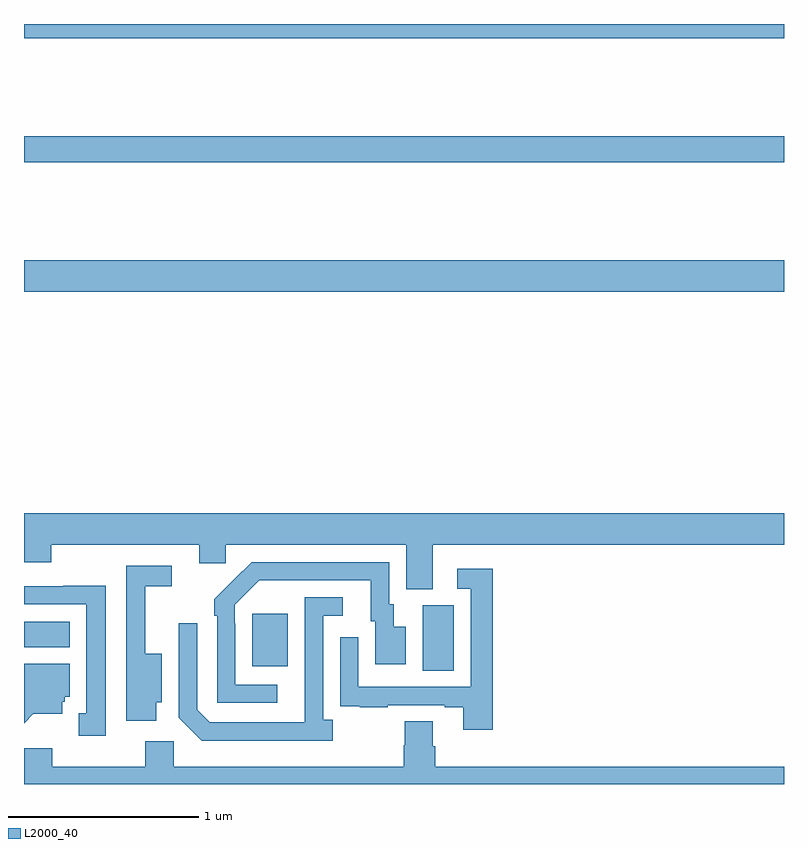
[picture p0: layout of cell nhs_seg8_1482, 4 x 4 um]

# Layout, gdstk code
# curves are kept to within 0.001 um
import gdstk
lib = gdstk.Library(unit=1e-6, precision=1e-09)
def R(c, l, rs):  # rectangles x0, y0, x1, y1
    for r in rs: c.add(gdstk.rectangle(r[:2], r[2:], *l))
def P(c, l, *ps):  # polygons
    for p in ps: c.add(gdstk.Polygon(p, *l))
L2000_40 = (2000, 40)

nhs_seg8_1482 = lib.new_cell('nhs_seg8_1482')
R(nhs_seg8_1482, L2000_40, [(207.098,1122.496,207.262,1122.84), (206.201,1122.521,206.389,1122.796), (205,1122.62,205.24,1122.754), (205,1124.492,209,1124.656), (205,1125.172,209,1125.308), (205,1125.824,209,1125.9)])
P(nhs_seg8_1482, L2000_40, [(207.151,1123.16),(209,1123.16),(209,1123.324),(205,1123.324),(205,1123.067),(205.143,1123.067),(205.143,1123.16),(205.922,1123.16),(205.922,1123.062),(206.061,1123.062),(206.061,1123.16),(207.011,1123.16),(207.011,1122.925),(207.151,1122.925)],
  [(206.332,1122.423),(206.112,1122.423),(206.112,1122.743),(206.109,1122.743),(206.109,1122.843),(206.238,1122.972),(206.825,1122.972),(206.825,1122.756),(206.849,1122.756),(206.849,1122.531),(207.01,1122.531),(207.01,1122.727),(206.947,1122.727),(206.947,1122.846),(206.922,1122.846),(206.922,1123.068),(206.198,1123.068),(206.001,1122.873),(206.001,1122.785),(206.016,1122.785),(206.016,1122.327),(206.332,1122.327)],
  [(205.696,1122.329),(205.726,1122.329),(205.726,1122.586),(205.637,1122.586),(205.637,1122.942),(205.777,1122.942),(205.777,1123.05),(205.539,1123.05),(205.539,1122.482),(205.538,1122.482),(205.538,1122.234),(205.696,1122.234)],
  [(207.467,1123.033),(207.279,1123.033),(207.279,1122.927),(207.351,1122.927),(207.351,1122.411),(206.76,1122.411),(206.76,1122.673),(206.664,1122.673),(206.664,1122.418),(206.665,1122.418),(206.665,1122.309),(206.767,1122.309),(206.767,1122.303),(206.915,1122.303),(206.915,1122.315),(207.215,1122.315),(207.215,1122.303),(207.311,1122.303),(207.311,1122.186),(207.467,1122.186)],
  [(205.429,1122.944),(205.206,1122.944),(205.206,1122.942),(205,1122.942),(205,1122.846),(205.328,1122.846),(205.328,1122.273),(205.289,1122.273),(205.289,1122.153),(205.429,1122.153)],
  [(206.626,1122.238),(206.574,1122.238),(206.574,1122.786),(206.677,1122.786),(206.677,1122.882),(206.478,1122.882),(206.477,1122.225),(205.977,1122.225),(205.911,1122.291),(205.911,1122.745),(205.815,1122.745),(205.815,1122.249),(205.936,1122.128),(206.626,1122.128)],
  [(205.049,1122.269),(205.201,1122.269),(205.201,1122.333),(205.215,1122.333),(205.215,1122.36),(205.24,1122.36),(205.24,1122.532),(205,1122.532),(205,1122.22)],
  [(209,1121.992),(207.164,1121.992),(207.164,1122.098),(207.151,1122.098),(207.151,1122.23),(207.004,1122.23),(207.004,1122.105),(206.999,1122.105),(206.999,1121.992),(205.788,1121.992),(205.788,1122.124),(205.637,1122.124),(205.637,1121.992),(205.148,1121.992),(205.148,1122.088),(205,1122.088),(205,1121.9),(209,1121.9)])

lib.write_gds('nhs_seg8_1482.gds')
